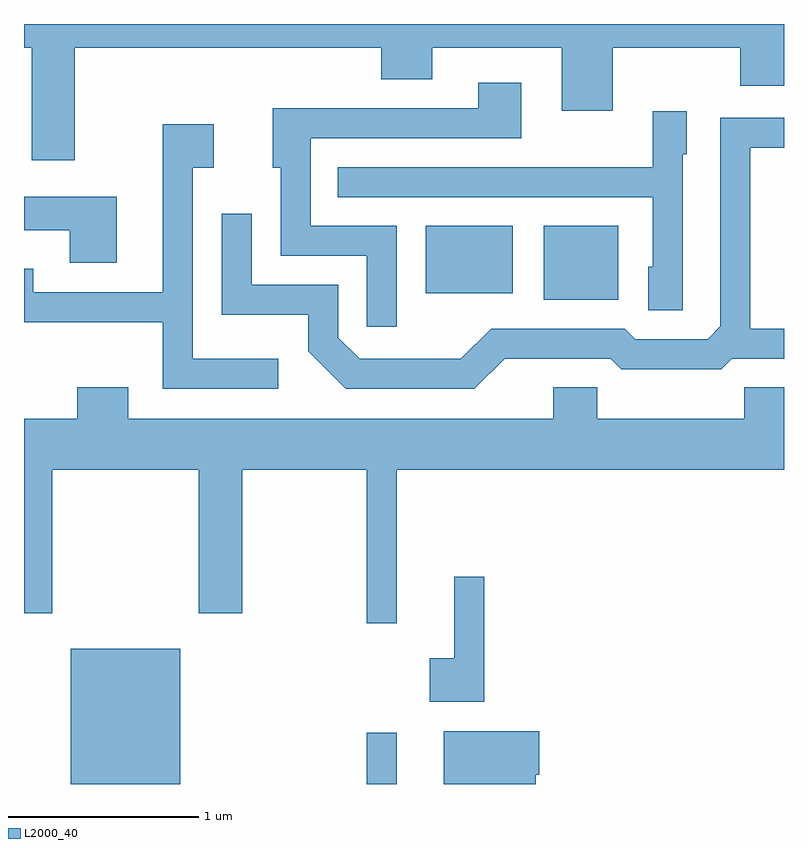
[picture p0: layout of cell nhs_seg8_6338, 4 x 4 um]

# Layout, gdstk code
import gdstk
lib = gdstk.Library(unit=1e-6, precision=1e-09)
def R(c, l, rs):  # rectangles x0, y0, x1, y1
    for r in rs: c.add(gdstk.rectangle(r[:2], r[2:], *l))
def P(c, l, *ps):  # polygons
    for p in ps: c.add(gdstk.Polygon(p, *l))
L2000_40 = (2000, 40)

nhs_seg8_6338 = lib.new_cell('nhs_seg8_6338')
R(nhs_seg8_6338, L2000_40, [(375.856,1810.342,376.434,1811.054), (377.416,1810.342,377.574,1810.613), (378.346,1812.891,378.739,1813.279), (377.726,1812.926,378.184,1813.279)])
P(nhs_seg8_6338, L2000_40, [(375.879,1814.216),(377.491,1814.216),(377.491,1814.051),(377.759,1814.051),(377.759,1814.216),(378.441,1814.216),(378.441,1813.886),(378.709,1813.886),(378.709,1814.216),(379.381,1814.216),(379.381,1814.016),(379.611,1814.016),(379.611,1814.342),(375.611,1814.342),(375.611,1814.216),(375.651,1814.216),(375.651,1813.626),(375.879,1813.626)],
  [(377.574,1813.279),(377.119,1813.279),(377.119,1813.741),(378.229,1813.741),(378.229,1814.034),(378.001,1814.034),(378.001,1813.899),(376.921,1813.899),(376.921,1813.586),(376.961,1813.586),(376.961,1813.121),(377.416,1813.121),(377.416,1812.748),(377.574,1812.748)],
  [(379.079,1813.656),(379.099,1813.656),(379.099,1813.884),(378.921,1813.884),(378.921,1813.589),(377.263,1813.589),(377.263,1813.431),(378.921,1813.431),(378.921,1813.064),(378.896,1813.064),(378.896,1812.836),(379.079,1812.836)],
  [(378.142,1812.581),(378.699,1812.581),(378.754,1812.526),(379.282,1812.526),(379.337,1812.581),(379.611,1812.581),(379.611,1812.739),(379.434,1812.739),(379.434,1813.691),(379.611,1813.691),(379.611,1813.849),(379.276,1813.849),(379.276,1812.752),(379.209,1812.684),(378.827,1812.684),(378.772,1812.739),(378.069,1812.739),(377.909,1812.579),(377.377,1812.579),(377.264,1812.692),(377.264,1812.969),(376.809,1812.969),(376.809,1813.343),(376.651,1813.343),(376.651,1812.811),(377.106,1812.811),(377.106,1812.619),(377.304,1812.421),(377.982,1812.421)],
  [(376.948,1812.579),(376.499,1812.579),(376.499,1813.586),(376.609,1813.586),(376.609,1813.814),(376.341,1813.814),(376.341,1812.929),(375.659,1812.929),(375.659,1813.054),(375.611,1813.054),(375.611,1812.771),(376.341,1812.771),(376.341,1812.421),(376.948,1812.421)],
  [(376.099,1813.434),(375.611,1813.434),(375.611,1813.256),(375.851,1813.256),(375.851,1813.086),(376.099,1813.086)],
  [(377.574,1811.996),(379.611,1811.996),(379.611,1812.429),(379.401,1812.429),(379.401,1812.264),(378.629,1812.264),(378.629,1812.429),(378.396,1812.429),(378.396,1812.264),(376.159,1812.264),(376.159,1812.429),(375.891,1812.429),(375.891,1812.264),(375.611,1812.264),(375.611,1811.241),(375.759,1811.241),(375.759,1811.996),(376.531,1811.996),(376.531,1811.241),(376.759,1811.241),(376.759,1811.996),(377.416,1811.996),(377.416,1811.188),(377.574,1811.188)],
  [(378.034,1811.433),(377.876,1811.433),(377.876,1811.004),(377.746,1811.004),(377.746,1810.776),(378.034,1810.776)],
  [(378.304,1810.391),(378.324,1810.391),(378.324,1810.619),(377.821,1810.619),(377.821,1810.342),(378.304,1810.342)])

lib.write_gds('nhs_seg8_6338.gds')
